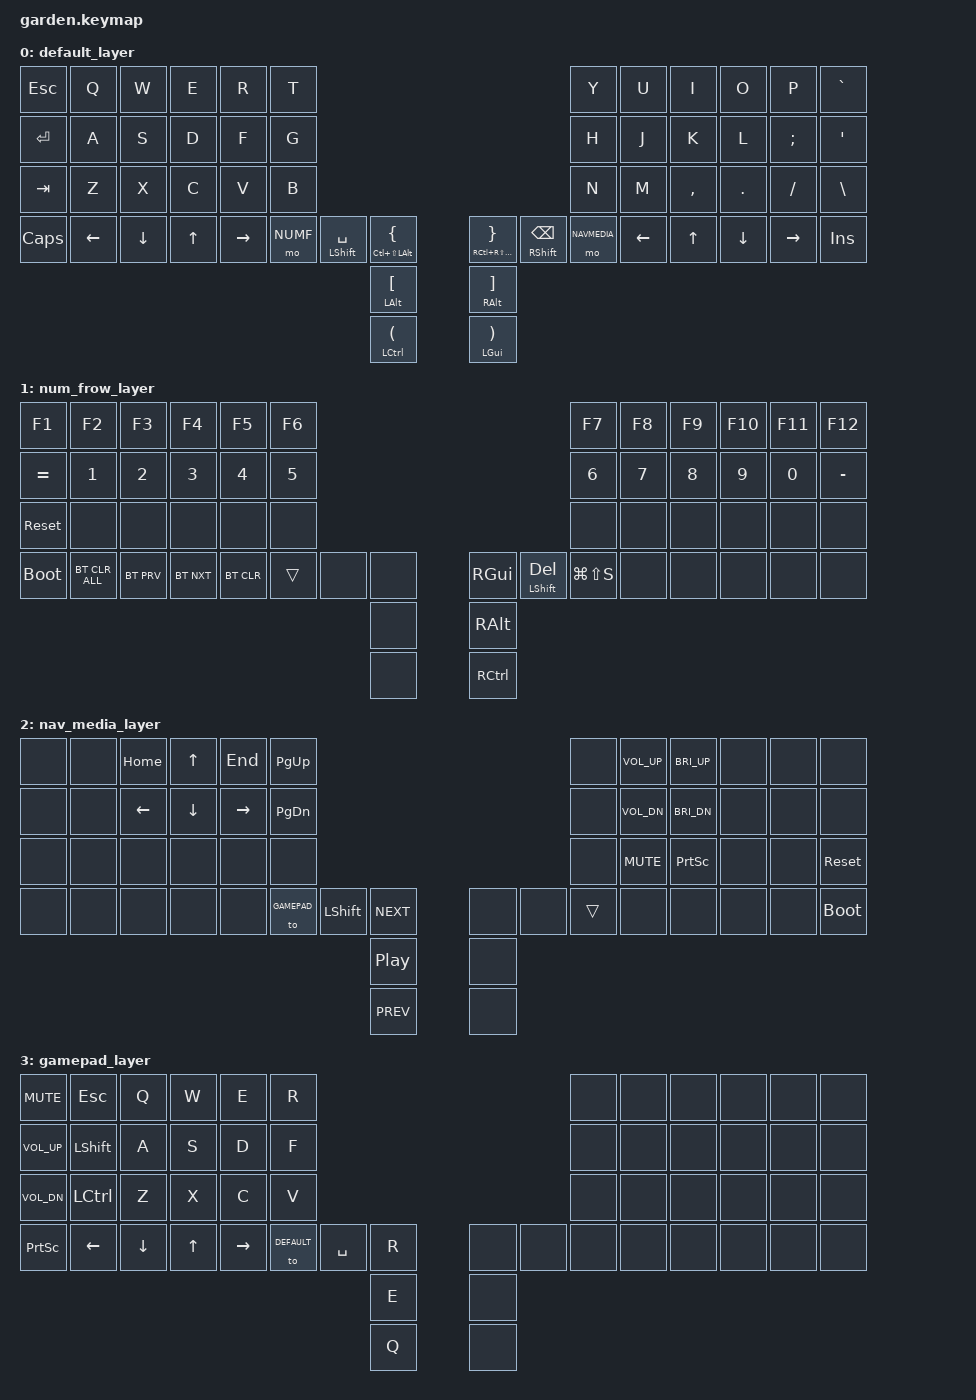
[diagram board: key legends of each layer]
#include <dt-bindings/zmk/keys.h>
#include <behaviors.dtsi>
#include <dt-bindings/zmk/bt.h>

#define DEFAULT  0
#define NUMF     1
#define NAVMEDIA 2
#define GAMEPAD  3

/ {
	behaviors {
		bht: balanced_hold_tap {
			compatible = "zmk,behavior-hold-tap";
			#binding-cells = <2>;
			tapping-term-ms = <200>;    // <---[[moderate duration]]
			quick-tap-ms = <0>;
			flavor = "balanced";
			bindings = <&kp>, <&kp>;
		};
	};
	keymap {
		compatible = "zmk,keymap";

		default_layer {
// | ESC  |  Q   |  W   |  E   |  R   |  T   |                                        |  Y   |  U   |  I   |  O   |  P   |  `~  |
// | ENTR |  A   |  S   |  D   |  F   |  G   |                                        |  H   |  J   |  K   |  L   |  ;   |  '   |
// | TAB  |  Z   |  X   |  C   |  V   |  B   |                                        |  N   |  M   |  ,   |  .   |  /   |  \   |
// | C.LCK| LFT  |  DWN |  UP  | RGHT | h.L1 |SHFT( )|MEH ({)|      |HYP(})|SHFT(BSPC)| h.L2 |  lft |  up  |  dwn | rght |  ins |
//                                                   |ALT ([)|      |ALT(])|
//                                                   |CTRL(()|      |WIN())|
			bindings = <
&kp ESC   &kp Q     &kp W   &kp E     &kp R      &kp T                                                                                             &kp Y          &kp U     &kp I      &kp O     &kp P      &kp GRAVE 
&kp RET   &kp A     &kp S   &kp D     &kp F      &kp G                                                                                             &kp H          &kp J     &kp K      &kp L     &kp SEMI   &kp SQT 
&kp TAB   &kp Z     &kp X   &kp C     &kp V      &kp B                                                                                             &kp N          &kp M     &kp COMMA  &kp DOT   &kp FSLH   &kp BSLH 
&kp CLCK  &kp LEFT  &kp DOWN  &kp UP  &kp RIGHT  &mo NUMF  &bht LSHFT SPACE  &bht LC(LS(LALT)) LBRC    &bht RC(RS(RA(RGUI))) RBRC  &bht RSHFT BSPC  &mo NAVMEDIA   &kp LEFT  &kp UP     &kp DOWN  &kp RIGHT  &kp INS 
                                                                             &mt LALT LBKT             &mt RALT RBKT 
                                                                             &mt LCTRL LPAR            &mt LGUI RPAR
			>;
		};

		num_frow_layer {
// | F1   |  F2  |  F3  |  F4  |  F5  |  F6  |                                  |  F7         |  F8  |  F9  |  F10 |  F11 |  F12 |
// | +=   |  1   |  2   |  3   |  4   |  5   |                                  |  6          |  7   |  8   |  9   |  0   |  -_  |
// | NONE | NONE | NONE | NONE | NONE | NONE |                                  | NONE        | NONE | NONE | NONE | NONE | NONE |
// |BT_CLR| NONE | NONE | NONE | NONE |TRSPRT| NONE | NONE |      | WIN  | DEL  | WIN+SHFT+S  | NONE | NONE | NONE | NONE | NONE |
//                                                  | NONE |      | ALT  |
//                                                  | NONE |      | CTRL |
			bindings = <
&kp F1          &kp F2  &kp F3  &kp F4  &kp F5  &kp F6                                             &kp F7         &kp F8  &kp F9  &kp F10  &kp F11  &kp F12
&kp EQUAL       &kp N1  &kp N2  &kp N3  &kp N4  &kp N5                                             &kp N6         &kp N7  &kp N8  &kp N9   &kp N0   &kp MINUS
&sys_reset      &none   &none   &none   &none   &none                                              &none          &none   &none   &none    &none    &none 
&bootloader  &bt BT_CLR_ALL   &bt BT_PRV   &bt BT_NXT   &bt BT_CLR   &trans  &none  &none     &kp RGUI  &bht LSHFT DEL  &kp LG(LS(S))  &none   &none   &none    &none    &none 
                                                               &none     &kp RALT 
                                                               &none     &kp RCTRL 
			>;
		};

		nav_media_layer {
// | NONE | NONE | HOME |  UP  |  END | PG.UP|                                  | NONE | VOL+ | BRT+ | NONE | NONE | NONE |
// | NONE | NONE | LEFT | DOWN | RIGHT|PG.DWN|                                  | NONE | VOL- | BRT- | NONE | NONE | NONE |
// | NONE | NONE | NONE | NONE | NONE | NONE |                                  | NONE | MUTE | PSCRN| NONE | NONE | NONE |
// | NONE | NONE | NONE | NONE | NONE | t.L3 | SHFT | SKIP |      | NONE | NONE |TRSPRT| NONE | NONE | NONE | NONE | NONE |
//                                                  | PLAY |      | NONE |
//                                                  | BACK |      | NONE |
			bindings = <
&none  &none  &kp HOME  &kp UP    &kp END    &kp PG_UP                                            &none   &kp C_VOL_UP  &kp C_BRI_UP  &none  &none  &none 
&none  &none  &kp LEFT  &kp DOWN  &kp RIGHT  &kp PG_DN                                            &none   &kp C_VOL_DN  &kp C_BRI_DN  &none  &none  &none 
&none  &none  &none     &none     &none      &none                                                &none   &kp C_MUTE    &kp PSCRN     &none  &none  &sys_reset 
&none  &none  &none     &none     &none      &to GAMEPAD  &kp LSHFT  &kp C_NEXT     &none  &none  &trans  &none         &none         &none  &none  &bootloader 
                                                                     &kp C_PP       &none 
                                                                     &kp C_PREV     &none 
			>;
		};

		gamepad_layer {
// | MUTE |  ESC |  Q   |  W   |  E   |  R   |                                  | NONE | NONE | NONE | NONE | NONE | NONE |
// | VOL+ | SHFT |  A   |  S   |  D   |  F   |                                  | NONE | NONE | NONE | NONE | NONE | NONE |
// | VOL- | CTRL |  Z   |  X   |  C   |  V   |                                  | NONE | NONE | NONE | NONE | NONE | NONE |
// | PSCRN| LEFT | DOWN |  UP  | RIGHT| t.L1 | SPACE|  R   |      | NONE | NONE | NONE | NONE | NONE | NONE | NONE | NONE |
//                                                  |  E   |      | NONE |
//                                                  |  Q   |      | NONE |
			bindings = <
&kp C_MUTE    &kp ESC    &kp Q     &kp W   &kp E      &kp R                                           &none  &none  &none  &none  &none  &none 
&kp C_VOL_UP  &kp LSHFT  &kp A     &kp S   &kp D      &kp F                                           &none  &none  &none  &none  &none  &none
&kp C_VOL_DN  &kp LCTRL  &kp Z     &kp X   &kp C      &kp V                                           &none  &none  &none  &none  &none  &none 
&kp PSCRN     &kp LEFT   &kp DOWN  &kp UP  &kp RIGHT  &to DEFAULT  &kp SPACE  &kp R     &none  &none  &none  &none  &none  &none  &none  &none 
                                                                              &kp E     &none 
                                                                              &kp Q     &none 
			>;
		};
	};
};
